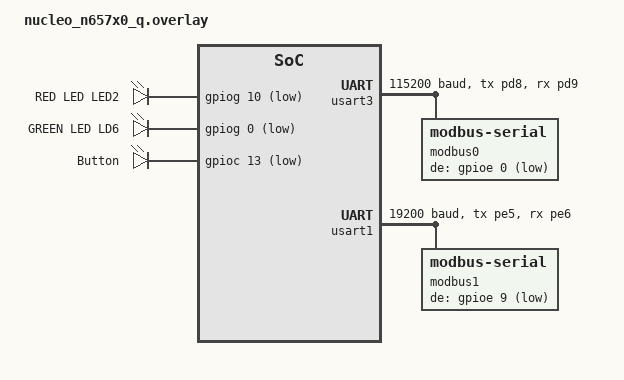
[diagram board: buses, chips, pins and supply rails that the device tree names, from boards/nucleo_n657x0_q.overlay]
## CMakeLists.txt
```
# SPDX-License-Identifier: Apache-2.0 OR MIT

cmake_minimum_required(VERSION 3.20.0)
find_package(Zephyr REQUIRED HINTS $ENV{ZEPHYR_BASE})
project(Project)

file(GLOB SRC_C_FILES CONFIGURE_DEPENDS "src/*.c")
target_sources(app PRIVATE ${SRC_C_FILES})

rust_cargo_application()

# ==============================================================================
# OTFDEC ENCRYPTION & SIGNING
# ==============================================================================

set(RAW_SCRIPT_PATH "${CMAKE_CURRENT_SOURCE_DIR}/scripts/delete_header.py")
set(SCRIPT_PATH "${CMAKE_CURRENT_SOURCE_DIR}/scripts/encrypt_otfdec.py")
set(KEY_FILE    "${CMAKE_CURRENT_SOURCE_DIR}/../../bootloader/mcuboot/root-rsa-2048.pem")

# Dosya Yolları
set(ZEPHYR_BIN  "${CMAKE_BINARY_DIR}/zephyr/zephyr.bin") 
set(RAW_BIN     "${CMAKE_BINARY_DIR}/zephyr/zephyr_raw.bin")
set(ENC_BIN     "${CMAKE_BINARY_DIR}/zephyr/zephyr_enc.bin")
set(SIGNED_BIN  "${CMAKE_BINARY_DIR}/zephyr/zephyr_signed_otfdec.bin")
set(FINAL_HEX   "${CMAKE_BINARY_DIR}/zephyr/zephyr_signed_otfdec.hex")

add_custom_target(otfdec_process
    ALL
    DEPENDS zephyr_final

    # 1. ADIM: Python Scriptini Çalıştır
    #COMMAND python3 ${RAW_SCRIPT_PATH} ${ZEPHYR_BIN} ${RAW_BIN}

    COMMAND python3 ${SCRIPT_PATH} ${ZEPHYR_BIN} ${ENC_BIN}

    # 2. ADIM: imgtool ile Tek bir 0x400 Header ekle ve imzala.
    COMMAND imgtool sign
            --key ${KEY_FILE}
            --header-size 0x400
            --align 32
            --version 1.0.0+1
            --slot-size 0x200000
            --pad-header
            ${ENC_BIN}
            ${SIGNED_BIN}

    # 3. ADIM: BIN -> HEX 
    COMMAND ${CMAKE_OBJCOPY} 
            -I binary -O ihex 
            --change-address 0x90000000 
            ${SIGNED_BIN} ${FINAL_HEX}

    COMMENT ">>> [OTFDEC] Zephyr padding temizlendi ve düzgünce imzalandi."
)
```

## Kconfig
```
# Copyright (c) 2026
# SPDX-License-Identifier: Apache-2.0
# Coskun ERGAN <coskunergan@gmail.com>

mainmenu "Bridge Uart"

source "Kconfig.zephyr"
```

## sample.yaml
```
# See doc/develop/test/twister.rst for what is here.
sample:
  name: Driver Sample
common:
  filter: CONFIG_RUST_SUPPORTED
  platform_allow:
    - qemu_cortex_m0
    - qemu_cortex_m3
    - qemu_riscv32
    - qemu_riscv64    
    - stm32h735g_disco
    - stm32f746g_disco
    - nucleo_n657x0_q
tests:
  sample.basic.drivers:
    tags:
    filter: 
    depends_on:
    extra_configs:
    harness:
    integration_platforms:
      - 
      - stm32f746g_disco
      - nucleo_n657x0_q
```

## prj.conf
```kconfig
CONFIG_GPIO=y

CONFIG_RUST=y
CONFIG_RUST_ALLOC=y

CONFIG_DEBUG=y
CONFIG_MAIN_STACK_SIZE=4096
CONFIG_HEAP_MEM_POOL_SIZE=2048

CONFIG_SYS_CLOCK_TICKS_PER_SEC=10000

CONFIG_GPIO_ENABLE_DISABLE_INTERRUPT=y

#Verify that userspace builds work.
#CONFIG_USERSPACE=y

CONFIG_UART_INTERRUPT_DRIVEN=y
CONFIG_UART_LINE_CTRL=n

CONFIG_BOOT_BANNER=y

CONFIG_LOG=y
#CONFIG_LOG_DEFAULT_LEVEL=4

CONFIG_CONSOLE=y

CONFIG_BOOTLOADER_MCUBOOT=y
CONFIG_MCUBOOT_SIGNATURE_KEY_FILE="root-rsa-2048.pem"

CONFIG_SPI=y
CONFIG_FLASH=y
CONFIG_FLASH_MAP=y
CONFIG_FLASH_STM32_OSPI=y
CONFIG_MULTITHREADING=y
CONFIG_FLASH_PAGE_LAYOUT=y
CONFIG_STREAM_FLASH=y
CONFIG_FLASH_STM32_QSPI=y
CONFIG_ARM_MPU=n

CONFIG_XIP=y
CONFIG_STM32_MEMMAP=y
CONFIG_SYS_CLOCK_HW_CYCLES_PER_SEC=64000000
```

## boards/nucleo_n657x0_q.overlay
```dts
/ {
	chosen {
		zephyr,console = &usart3;
		zephyr,shell-uart = &usart3;		
	};	
	gpios {		
		compatible = "gpio-leds";	
		my_red_led: my_red_led {			
			gpios = <&gpiog 10 GPIO_ACTIVE_LOW>;	
			label = "RED LED LED2";
		};
		my_green_led: my_green_led {			
			gpios = <&gpiog 0 GPIO_ACTIVE_LOW>;	
			label = "GREEN LED LD6";
		};		
		button: button {
			gpios = <&gpioc 13 (GPIO_PULL_DOWN | GPIO_ACTIVE_LOW)>;
			label = "Button";
		};											
	};				
};

&usart3 {
	clocks = <&rcc STM32_CLOCK(APB1, 18)>,
		 <&rcc STM32_SRC_CKPER USART3_SEL(1)>;
	pinctrl-0 = <&usart3_tx_pd8 &usart3_rx_pd9>;
	pinctrl-names = "default";
	current-speed = <115200>;
	status = "okay";
	modbus0 {
		compatible = "zephyr,modbus-serial";
		status = "okay";
		de-gpios = <&gpioe 0 GPIO_ACTIVE_LOW>;	
	};		
};

&usart1 {
	clocks = <&rcc STM32_CLOCK(APB2, 4)>,
		 <&rcc STM32_SRC_CKPER USART1_SEL(1)>;
	pinctrl-0 = <&usart1_tx_pe5 &usart1_rx_pe6>;
	pinctrl-names = "default";
	current-speed = <19200>;
	status = "okay";
	modbus1 {
		compatible = "zephyr,modbus-serial";
		status = "okay";
		de-gpios = <&gpioe 9 GPIO_ACTIVE_LOW>;	
	};		
};

&fdcan1 {
    label = "canbus0"; 
};
```

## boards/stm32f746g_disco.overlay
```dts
/ {
	chosen {
		zephyr,code-partition = &slot0_partition;
		zephyr,boot-partition = &boot_partition; 
		zephyr,console = &usart1;
		zephyr,shell-uart = &usart1;		
	};
	aliases {
        usart6 = &usart6;
		uart7 = &uart7;
    };	
	gpios {		
		compatible = "gpio-leds";	
		my_red_led: my_red_led {			
			gpios = <&gpioc 2 GPIO_ACTIVE_LOW>;	
			label = "RED LED LED2";
		};
		my_green_led: my_green_led {			
			gpios = <&gpioi 1 GPIO_ACTIVE_LOW>;	
			label = "GREEN LED LED1";
		};		
		boot0_pin: boot0_pin {			
			gpios = <&gpioa 0 GPIO_ACTIVE_LOW>;	
			label = "Targer Boot0 Pin";
		};	
		nrst_pin: nrst_pin {			
			gpios = <&gpiog 3 GPIO_ACTIVE_LOW>;	
			label = "Targer NRESET Pin";
		};					
		button: button {
			gpios = <&gpioi 11 (GPIO_PULL_DOWN | GPIO_ACTIVE_HIGH)>;
			label = "Button";
		};											
	};				
};

&uart7 {
	pinctrl-0 = <&uart7_rx_pf6 &uart7_tx_pf7>;
	pinctrl-names = "default";
	current-speed = <19200>;
	status = "okay";
};

&usart6 {
	pinctrl-0 = <&usart6_tx_pc6 &usart6_rx_pc7>;
	pinctrl-names = "default";
	current-speed = <115200>;
	status = "okay";	
};

&n25q128a1 {
	/delete-node/ partitions;
};

&quadspi {
	status = "disabled";
};

&flash0 {
	partitions {
		compatible = "fixed-partitions";
		#address-cells = <1>;
		#size-cells = <1>;

		boot_partition: partition@0 {
			label = "mcuboot";
			reg = <0x00000000 0x00010000>; /* 64KB */
		};

		slot0_partition: partition@10000 {
			label = "image-0";
			reg = <0x00010000 0x00030000>; /* 192KB */
		};

		slot1_partition: partition@40000 {
			label = "image-1";
			reg = <0x00040000 0x00040000>; /* 256KB */
		};

		scratch_partition: partition@80000 {
			label = "image-scratch";
			reg = <0x00080000 0x00010000>; /* 64KB */
		};
	};
};

&usart1 {
    status = "okay";
};
```

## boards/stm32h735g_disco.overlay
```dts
/ {
	chosen {
		zephyr,code-partition = &slot0_partition;	
		zephyr,bootloader-partition = &boot_partition;
		zephyr,flash = &mx25lm51245;
		zephyr,console = &usart3;
		zephyr,shell-uart = &usart3;		
	};
	aliases {
        usart-1 = &usart1;
		usart-3 = &usart3;
    };
	gpios {		
		compatible = "gpio-leds";	
		my_red_led: my_red_led {			
			gpios = <&gpioc 2 GPIO_ACTIVE_LOW>;	
			label = "RED LED LED2";
		};
		my_green_led: my_green_led {			
			gpios = <&gpioc 3 GPIO_ACTIVE_LOW>;	
			label = "GREEN LED LED1";
		};		
		boot0_pin: boot0_pin {			
			gpios = <&gpioa 0 GPIO_ACTIVE_HIGH>;	
			label = "Targer Boot0 Pin";
		};	
		nrst_pin: nrst_pin {			
			gpios = <&gpiog 3 GPIO_ACTIVE_HIGH>;	
			label = "Targer NRESET Pin";
		};			
		button: button {
			gpios = <&gpioc 13 (GPIO_PULL_DOWN | GPIO_ACTIVE_LOW)>;
			label = "Button";
		};											
	};				
};

&usart1 {
	pinctrl-0 = <&usart1_tx_pb14 &usart1_rx_pb15>;
	pinctrl-names = "default";
	current-speed = <115200>;
	status = "okay";	
};

&usart3 {
	pinctrl-0 = <&usart3_tx_pd8 &usart3_rx_pd9>;
	pinctrl-names = "default";
	current-speed = <115200>;
	status = "okay";		
};

&rcc {
    clock-frequency = <DT_FREQ_M(64)>;
    d1cpre = <1>;
    hpre = <1>;     /* Prescaler'ları azalt */
    d1ppre = <1>;
    d2ppre1 = <2>;
    d2ppre2 = <2>;
    d3ppre = <2>;
};

&pll {
    div-m = <5>;     /* 25MHz/5 = 5 MHz */
    mul-n = <128>;   /* 5MHz * 128 = 640 MHz */
    div-p = <10>;    /* 640/10 = 64 MHz (SYSCLK) */
    div-q = <5>;
    div-r = <5>;
};

&octospi1 {
	status = "okay";
};

&mx25lm51245 {
	/delete-node/ partitions;
	ospi-max-frequency = <50000000>;  // 50 MHz
	data-rate = <1>;
	status = "okay";	
	partitions {
		compatible = "fixed-partitions";
		#address-cells = <1>;
		#size-cells = <1>;

		slot0_partition: partition@0 {
			label = "mcuboot-primary-1";
			reg = <0x00000000 0x00200000>;  // 2mb
		};

		slot1_partition: partition@200000 {
			label = "mcuboot-secondary-1";
			reg = <0x00200000 0x00200000>;  // 2mb
		};			
	};
};

/* TÜM SLOTLAR DAHİLİ FLASH (ROM) İÇİNDE */
&flash0 {
	/delete-node/ partitions;	
	partitions {
		compatible = "fixed-partitions";
		#address-cells = <1>;
		#size-cells = <1>;

		/* Sektör 0: Bootloader (128KB) */
		boot_partition: partition@0 {
			label = "mcuboot";
			reg = <0x00000000 0x00020000>; 
		};

		/* Sektör 5: Swap için gerekli alan (128KB) */
		scratch_partition: partition@a0000 {
			label = "image-scratch";
			reg = <0x000a0000 0x00020000>;
		};
	};
};
```

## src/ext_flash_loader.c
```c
// Copyright (c) 2025
// SPDX-License-Identifier: Apache-2.0
// Coskun ERGAN <coskunergan@gmail.com>

#include <zephyr/kernel.h>
#include <zephyr/device.h>
#include <zephyr/drivers/uart.h>
#include <zephyr/drivers/flash.h>
#include <zephyr/storage/flash_map.h>
#include <zephyr/logging/log.h>
#include "ext_flash_loader.h"

LOG_MODULE_REGISTER(ext_flash_loader, LOG_LEVEL_INF);

#define UART_DEV DEVICE_DT_GET(DT_ALIAS(usart3))

static const struct flash_area *flash_area_ptr = NULL;
static bool flash_initialized = false;
static int64_t last_activity_time = 0;

// Helper: Calculate XOR checksum
static uint8_t calculate_checksum(const uint8_t *data, uint16_t len)
{
    uint8_t checksum = 0;
    for(uint16_t i = 0; i < len; i++)
    {
        checksum ^= data[i];
    }
    return checksum;
}

// Helper: Send ACK byte
static void send_ack(void)
{
    uart_poll_out(UART_DEV, EFL_ACK);
    LOG_DBG("Sent ACK");
}

// Helper: Send NACK byte
static void send_nack(void)
{
    uart_poll_out(UART_DEV, EFL_NACK);
    LOG_WRN("Sent NACK");
}

// Helper: Receive byte with timeout
static int receive_byte(uint8_t *byte, int timeout_ms)
{
    int64_t start = k_uptime_get();

    while(k_uptime_get() - start < timeout_ms)
    {
        if(uart_poll_in(UART_DEV, byte) == 0)
        {
            last_activity_time = k_uptime_get();
            return 0;
        }
        //k_usleep(500);
    }

    return -ETIMEDOUT;
}

// Helper: Receive multiple bytes with timeout
static int receive_bytes(uint8_t *buffer, uint32_t len, int timeout_ms)
{
    for(uint32_t i = 0; i < len; i++)
    {
        if(receive_byte(&buffer[i], timeout_ms) < 0)
        {
            return -ETIMEDOUT;
        }
    }
    return 0;
}

// Helper: Wait for sync byte (0x7F)
static int wait_for_sync(int timeout_ms)
{
    uint8_t byte;
    LOG_INF("Waiting for sync byte (0x7F)...");

    if(receive_byte(&byte, timeout_ms) < 0)
    {
        LOG_ERR("Sync timeout");
        return -ETIMEDOUT;
    }

    if(byte != EFL_SYNC_BYTE)
    {
        LOG_ERR("Invalid sync byte: 0x%02X (expected 0x7F)", byte);
        return -EIO;
    }

    LOG_INF("Sync received!");
    send_ack();
    return 0;
}

// Command: Extended Erase
static int cmd_extended_erase(void)
{
    LOG_INF("Extended Erase command started");

    uint8_t data[3];
    if(receive_bytes(data, 3, EFL_WRITE_TIMEOUT) < 0)
    {
        LOG_ERR("Erase parameters timeout");
        send_nack();
        return -ETIMEDOUT;
    }

    uint16_t erase_code = (data[0] << 8) | data[1];
    uint8_t checksum = data[2];

    if(checksum != (data[0] ^ data[1]))
    {
        LOG_ERR("Erase checksum failed");
        send_nack();
        return -EIO;
    }

    //send_ack();

    if(erase_code == EFL_ERASE_ALL)
    {
        LOG_INF("Erasing entire external flash...");

        if(!flash_area_ptr)
        {
            LOG_ERR("Flash area not initialized");
            send_nack();
            return -EIO;
        }

        int ret = flash_area_erase(flash_area_ptr, 0, flash_area_ptr->fa_size);
        if(ret != 0)
        {
            LOG_ERR("Flash erase failed: %d", ret);
            send_nack();
            return ret;
        }

        LOG_INF("Flash erased successfully (%u bytes)", flash_area_ptr->fa_size);
        send_ack();
        return 0;
    }
    else
    {
        LOG_WRN("Sector erase not implemented (code: 0x%04X)", erase_code);
        //send_nack();
        k_usleep(5000);
        uint8_t dummy;
        while(!uart_poll_in(UART_DEV, dummy));
        send_ack();
        return 0;
        //return -ENOTSUP;
    }
}

// Command: Write Memory
static int cmd_write_memory(void)
{
    LOG_DBG("Write Memory command started");

    // Receive address (4 bytes + 1 checksum)
    uint8_t addr_buf[5];
    if(receive_bytes(addr_buf, 5, EFL_WRITE_TIMEOUT) < 0)
    {
        LOG_ERR("Address receive timeout");
        send_nack();
        return -ETIMEDOUT;
    }

    uint32_t address = ((uint32_t)addr_buf[0] << 24) |
                       ((uint32_t)addr_buf[1] << 16) |
                       ((uint32_t)addr_buf[2] << 8) |
                       ((uint32_t)addr_buf[3]);

    uint8_t addr_checksum = calculate_checksum(addr_buf, 4);
    if(addr_checksum != addr_buf[4])
    {
        LOG_ERR("Address checksum failed");
        send_nack();
        return -EIO;
    }

    if(address < 0x90000000)
    {        
        LOG_ERR("Addres Data not fit. 0x90000000");
        send_nack();
        return -ETIMEDOUT;
    }
    else
    {
        address -= 0x90000000;
        send_ack();
    }

    // Receive data length
    uint8_t n;
    if(receive_byte(&n, EFL_WRITE_TIMEOUT) < 0)
    {
        LOG_ERR("Data length timeout");
        send_nack();
        return -ETIMEDOUT;
    }

    uint32_t data_len = n + 1; // N = length - 1

    // Receive data + checksum
    uint8_t data_buf[EFL_MAX_CHUNK_SIZE + 1];
    if(receive_bytes(data_buf, data_len + 1, EFL_WRITE_TIMEOUT) < 0)
    {
        LOG_ERR("Data receive timeout");
        send_nack();
        return -ETIMEDOUT;
    }

    uint8_t expected_checksum = n;
    for(uint32_t i = 0; i < data_len; i++)
    {
        expected_checksum ^= data_buf[i];
    }

    if(expected_checksum != data_buf[data_len])
    {
        LOG_ERR("Data checksum failed");
        send_nack();
        return -EIO;
    }

    // Write to external flash
    int ret = flash_area_write(flash_area_ptr, address, data_buf, data_len);
    if(ret != 0)
    {
        LOG_ERR("Flash write failed at 0x%08X: %d", address, ret);
        send_nack();
        return ret;
    }

    LOG_DBG("Written %u bytes to 0x%08X", data_len, address);
    send_ack();
    return 0;
}

// Command: Read Memory
static int cmd_read_memory(void)
{
    LOG_DBG("Read Memory command started");

    // Receive address (4 bytes + 1 checksum)
    uint8_t addr_buf[5];
    if(receive_bytes(addr_buf, 5, EFL_READ_TIMEOUT) < 0)
    {
        LOG_ERR("Address receive timeout");
        send_nack();
        return -ETIMEDOUT;
    }

    uint32_t address = ((uint32_t)addr_buf[0] << 24) |
                       ((uint32_t)addr_buf[1] << 16) |
                       ((uint32_t)addr_buf[2] << 8) |
                       ((uint32_t)addr_buf[3]);

    uint8_t addr_checksum = calculate_checksum(addr_buf, 4);
    if(addr_checksum != addr_buf[4])
    {
        LOG_ERR("Address checksum failed");
        send_nack();
        return -EIO;
    }

    if(address < 0x90000000)
    {        
        LOG_ERR("Addres Data not fit. 0x90000000");
        send_nack();
        return -ETIMEDOUT;
    }
    else
    {
        address -= 0x90000000;
        send_ack();
    }

    // Receive length (N and ~N)
    uint8_t len_buf[2];
    if(receive_bytes(len_buf, 2, EFL_READ_TIMEOUT) < 0)
    {
        LOG_ERR("Length receive timeout");
        send_nack();
        return -ETIMEDOUT;
    }

    uint8_t n = len_buf[0];
    uint8_t n_complement = len_buf[1];

    if(n != (uint8_t)(~n_complement))
    {
        LOG_ERR("Length complement check failed");
        send_nack();
        return -EIO;
    }

    uint32_t read_len = n + 1;
    send_ack();

    // Read from external flash
    uint8_t read_buf[EFL_MAX_CHUNK_SIZE];
    int ret = flash_area_read(flash_area_ptr, address, read_buf, read_len);
    if(ret != 0)
    {
        LOG_ERR("Flash read failed at 0x%08X: %d", address, ret);
        send_nack();
        return ret;
    }

    // Send data (no checksum in read response)
    for(uint32_t i = 0; i < read_len; i++)
    {
        uart_poll_out(UART_DEV, read_buf[i]);
    }

    LOG_DBG("Read %u bytes from 0x%08X", read_len, address);
    return 0;
}

// Main loader function
int ext_flash_loader_start(uint32_t timeout_sec)
{
    int ret;

    LOG_INF("========================================");
    LOG_INF("External Flash Loader Started V1.0.0");
    LOG_INF("Protocol: AN2606 UART Bootloader");
    LOG_INF("Timeout: %u seconds", timeout_sec);
    LOG_INF("========================================");

    k_msleep(100);

    struct uart_config cfg =
    {
        .baudrate = 115200,
        .parity   = UART_CFG_PARITY_EVEN,
        .stop_bits = UART_CFG_STOP_BITS_1,
        .data_bits = UART_CFG_DATA_BITS_8,
        .flow_ctrl = UART_CFG_FLOW_CTRL_NONE,
    };

    ret = uart_configure(UART_DEV, &cfg);
    if(ret)
    {
        LOG_ERR("UART configure error: %d\n", ret);
    }

    // Initialize flash area
    ret = flash_area_open(FIXED_PARTITION_ID(nor_part), &flash_area_ptr);
    if(ret != 0)
    {
        LOG_ERR("Failed to open nor_part: %d", ret);
        return ret;
    }

    LOG_INF("Flash partition opened: 0x%08X (%u bytes)",
            (uint32_t)flash_area_ptr->fa_off,
            flash_area_ptr->fa_size);

    flash_initialized = true;
    last_activity_time = k_uptime_get();

    // Wait for initial sync
    ret = wait_for_sync(EFL_SYNC_TIMEOUT);
    if(ret < 0)
    {
        goto cleanup;
    }

    // Main command loop
    uint64_t timeout_ms = timeout_sec * 1000;
    bool running = true;

    while(running)
    {
        // Check global timeout
        if((k_uptime_get() - last_activity_time) > timeout_ms)
        {
            LOG_WRN("Global timeout reached, exiting loader");
            ret = -ETIMEDOUT;
            break;
        }

        // Wait for command
        uint8_t cmd;
        if(receive_byte(&cmd, EFL_CMD_TIMEOUT) < 0)
        {
            LOG_WRN("Command timeout, exiting loader");
            ret = -ETIMEDOUT;
            break;
        }

        // Receive command complement
        uint8_t cmd_complement;
        if(receive_byte(&cmd_complement, 1000) < 0)
        {
            LOG_ERR("Command complement timeout");
            send_nack();
            continue;
        }

        // Verify complement
        if(cmd != (uint8_t)(~cmd_complement))
        {
            LOG_ERR("Command complement mismatch: 0x%02X vs 0x%02X", cmd, cmd_complement);
            send_nack();
            continue;
        }

        send_ack();

        // Execute command
        switch(cmd)
        {
            case EFL_CMD_ERASE:
                LOG_INF(">>> Command: Extended Erase (0x44)");
                ret = cmd_extended_erase();
                if(ret < 0)
                {
                    LOG_ERR("Erase command failed: %d", ret);
                }
                break;

            case EFL_CMD_WRITE:
                LOG_DBG(">>> Command: Write Memory (0x31)");
                ret = cmd_write_memory();
                if(ret < 0)
                {
                    LOG_ERR("Write command failed: %d", ret);
                }
                break;

            case EFL_CMD_READ:
                LOG_DBG(">>> Command: Read Memory (0x11)");
                ret = cmd_read_memory();
                if(ret < 0)
                {
                    LOG_ERR("Read command failed: %d", ret);
                }
                break;

            default:
                LOG_WRN("Unknown command: 0x%02X", cmd);
                send_nack();
                break;
        }
    }

cleanup:
    if(flash_area_ptr)
    {
        flash_area_close(flash_area_ptr);
    }

    LOG_INF("========================================");
    if(ret == 0)
    {
        LOG_INF("External Flash Loader: SUCCESS");
    }
    else if(ret == -ETIMEDOUT)
    {
        LOG_WRN("External Flash Loader: TIMEOUT");
    }
    else
    {
        LOG_ERR("External Flash Loader: FAILED (%d)", ret);
    }
    LOG_INF("========================================");

    return ret;
}
```

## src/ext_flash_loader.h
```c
// Copyright (c) 2025
// SPDX-License-Identifier: Apache-2.0
// Coskun ERGAN <coskunergan@gmail.com>
// STM32 Bootloader for External Flash Programming

//#pragma once

#include <stdint.h>

/**
 * @brief Start external flash loader in blocking mode
 * 
 * This function implements AN2606 UART bootloader protocol to program
 * external flash memory. It waits for 0x7F sync byte and processes
 * erase/write/read commands until timeout or completion.
 * 
 * Supported commands:
 * - 0x44: Extended Erase
 * - 0x31: Write Memory
 * - 0x11: Read Memory
 * 
 * @param timeout_sec Maximum time to wait for activity (seconds)
 * @return 0 on success, negative error code on failure
 *         -ETIMEDOUT: No activity within timeout period
 *         -EIO: Communication or flash operation error
 */
int ext_flash_loader_start(uint32_t timeout_sec);

// Protocol constants
#define EFL_ACK             0x79
#define EFL_NACK            0x1F
#define EFL_SYNC_BYTE       0x7F

#define EFL_CMD_ERASE       0x44
#define EFL_CMD_WRITE       0x31
#define EFL_CMD_READ        0x11

#define EFL_ERASE_ALL       0xFFFF

// Timeout values (milliseconds)
#define EFL_SYNC_TIMEOUT    5000
#define EFL_CMD_TIMEOUT     10000
#define EFL_ERASE_TIMEOUT   30000
#define EFL_WRITE_TIMEOUT   2000
#define EFL_READ_TIMEOUT    2000

// Flash parameters
#define EFL_MAX_CHUNK_SIZE  256
#define EFL_FLASH_BASE      0x90000000
```
